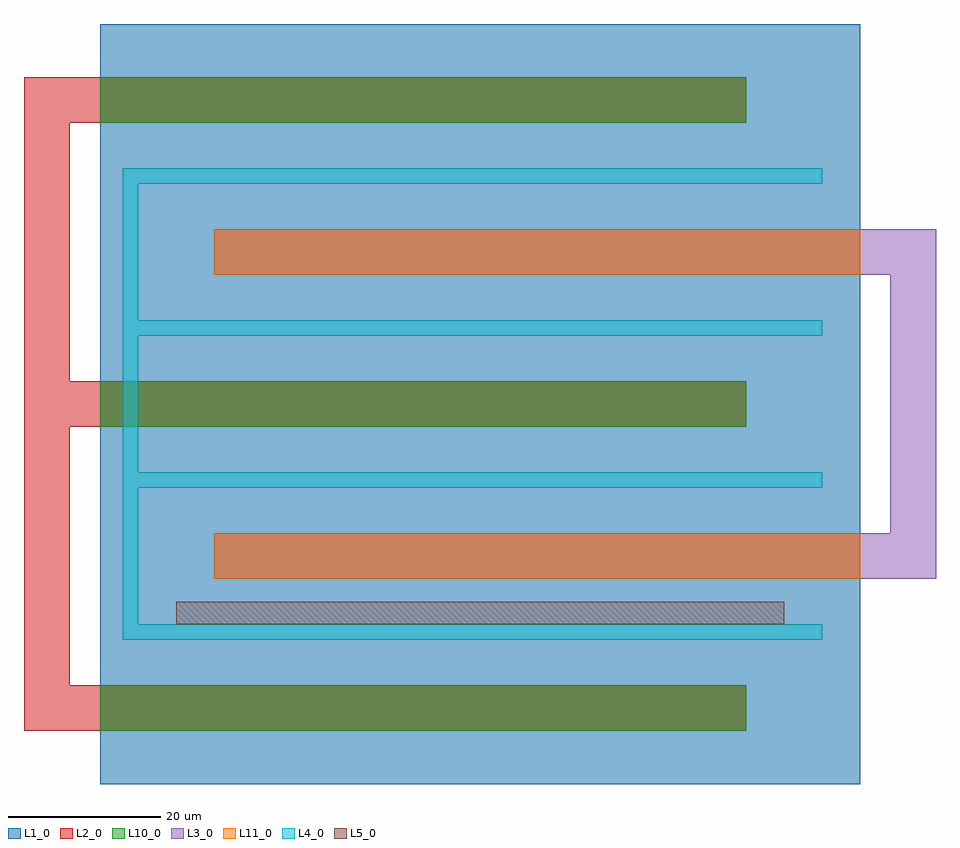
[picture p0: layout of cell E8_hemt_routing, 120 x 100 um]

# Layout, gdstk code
import gdstk
lib = gdstk.Library(unit=1e-6, precision=1e-09)
def R(c, l, rs):  # rectangles x0, y0, x1, y1
    for r in rs: c.add(gdstk.rectangle(r[:2], r[2:], *l))
def A(c, l, x, y, w, h, nx, ny, dx, dy):  # array of equal rectangles
    R(c, l, [(x+i*dx, y+j*dy, x+i*dx+w, y+j*dy+h) for i in range(nx) for j in range(ny)])
L1_0 = (1, 0)
L2_0 = (2, 0)
L3_0 = (3, 0)
L4_0 = (4, 0)
L5_0 = (5, 0)
L10_0 = (10, 0)
L11_0 = (11, 0)

e8_hemt_routing = lib.new_cell('E8_hemt_routing')
R(e8_hemt_routing, L1_0, [(0,0,100,100)])
A(e8_hemt_routing, L2_0, -10, 7, 95, 6, 1, 3, 0, 40)
R(e8_hemt_routing, L2_0, [(-10,7,-4,93)])
R(e8_hemt_routing, L3_0, [(15,27,110,33), (104,27,110,73), (15,67,110,73)])
A(e8_hemt_routing, L4_0, 5, 19, 90, 2, 1, 4, 0, 20)
R(e8_hemt_routing, L4_0, [(3,19,5,81)])
R(e8_hemt_routing, L5_0, [(10,21,90,24)])
A(e8_hemt_routing, L10_0, 0, 7, 85, 6, 1, 3, 0, 40)
R(e8_hemt_routing, L11_0, [(15,27,100,33), (15,67,100,73)])

lib.write_gds('E8_hemt_routing.gds')
